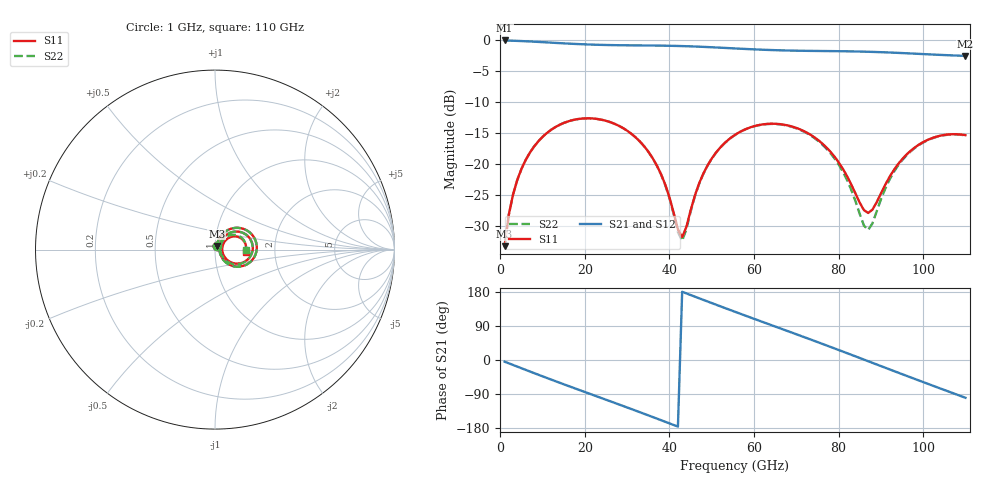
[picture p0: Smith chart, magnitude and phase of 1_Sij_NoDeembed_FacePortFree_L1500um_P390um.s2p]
! Touchstone file exported from HFSS 2024.2.0
!  File:  C:/Users/vaintrug/Documents/Ansoft_Workspace/Comparaison_Calculs_HFSS/1_VarPort.aedt
!  Generated:  03:22:18 PM Jan 21, 2025
!  Design:  1_NoDeembed_FacePortFree
!  Project:  1_VarPort
!  Setup:  Setup1
!  Solution:  Sweep
! Variables:
!  $Lenght = 1500um
!  $PortSize = 390um
!  Gap = 30um
!  Th = 2um
!  X_centralStrip = 20um
!  X_masse = 200um
!  Y_Sub = 1.5mm
!  Z_Box = 400um
!  Z_Sub = 200um
# GHz S MA R 50.000000
! Terminal data exported
! Port[1] = 1
! Port[2] = 2
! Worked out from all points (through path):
!   110 points, 1 GHz to 110 GHz, reference 50 ohm
!   highest |S21| = -0.10 dB at 1 GHz (marker M1); lowest = -2.6 dB at 110 GHz (marker M2)
!   group delay of S21, straight-line fit = 11.6 ps
!   lowest |S11| = -33.2 dB at 1 GHz (marker M3), VSWR 1.04, Z = 50.9 + j1.99 ohm
!   |S11| at or under -10 dB: start of sweep to end of sweep
!   |S22| runs from -33.2 to -12.6 dB; largest |S21 - S12| = 2.6e-15
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1  0.0218 63.6  0.9891 -4.4  0.9891 -4.4  0.0218 63.6
! Gamma 5.93502873707403 49.992367842972 5.99612438350157 50.2445376513121
! Port Impedance 50 0 50 0
2  0.03919 70.1  0.9865 -8.8  0.9865 -8.8  0.0392 70.1
3  0.0569 70.2  0.9839 -13.1  0.9839 -13.1  0.05691 70.2
7  0.1238 58.4  0.9707 -30.4  0.9707 -30.4  0.1238 58.4
14  0.2069 31.2  0.9413 -59.9  0.9413 -59.9  0.2069 31.2
20  0.2332 8.1  0.9201 -84.5  0.9201 -84.5  0.2333 8.0
24  0.2272 -6.9  0.911 -100.8  0.911 -100.8  0.2272 -7.1
29  0.1949 -25.1  0.9047 -121.2  0.9047 -121.2  0.1949 -25.4
34  0.1392 -41.6  0.9015 -142.0  0.9015 -142.0  0.139 -42.1
38  0.08294 -50.0  0.8985 -158.8  0.8985 -158.8  0.08251 -51.1
43  0.02579 5.1  0.891 180.0  0.891 180.0  0.02412 5.3
46  0.05563 52.5  0.8839 167.2  0.8839 167.2  0.05489 53.9
49  0.09743 53.0  0.8751 154.5  0.8751 154.5  0.09701 53.7
56  0.1761 33.2  0.8513 125.2  0.8513 125.2  0.1757 33.2
65  0.211 2.6  0.8261 88.4  0.8261 88.4  0.2101 1.9
74  0.1667 -26.4  0.8146 51.5  0.8146 51.5  0.1645 -28.4
80  0.1034 -39.7  0.8105 26.5  0.8105 26.5  0.09927 -44.1
87  0.04035 1.6  0.8019 -3.2  0.8019 -3.2  0.02944 4.8
92  0.07811 41.0  0.791 -24.5  0.791 -24.5  0.07426 49.5
96  0.1186 37.5  0.7801 -41.4  0.7801 -41.4  0.1167 43.3
101  0.1561 24.5  0.7654 -62.4  0.7654 -62.4  0.1551 28.8
110  0.171 -3.7  0.743 -99.7  0.743 -99.7  0.1701 -0.8
